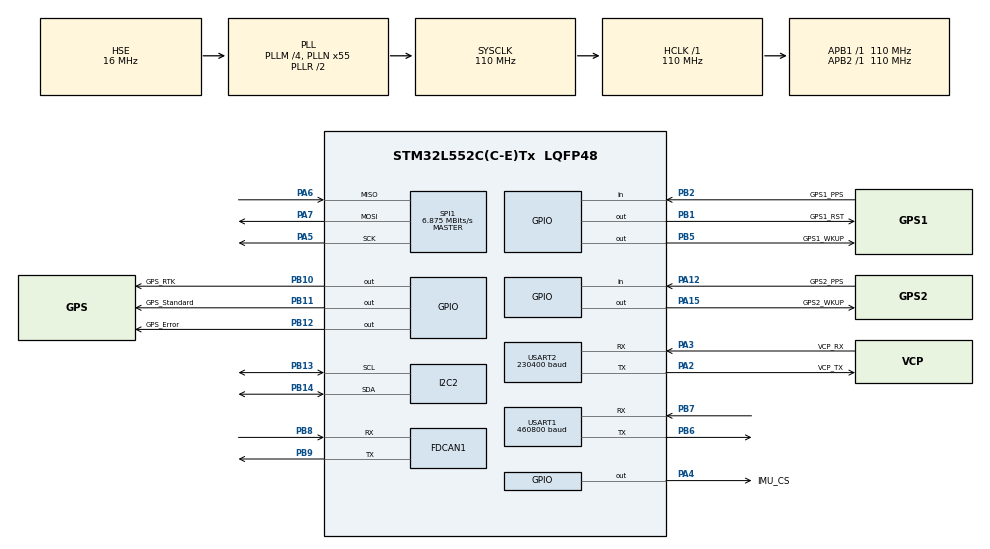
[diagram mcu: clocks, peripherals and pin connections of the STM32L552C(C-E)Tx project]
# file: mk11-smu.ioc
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Dma.Request0=USART2_TX
Dma.Request1=USART1_TX
Dma.Request2=USART1_RX
Dma.Request3=SPI1_RX
Dma.Request4=SPI1_TX
Dma.SPI1_RX.3.Channel_PRIV_NPRIV=DMA_CHANNEL_NPRIV_DISABLE
Dma.SPI1_RX.3.Direction=DMA_PERIPH_TO_MEMORY
Dma.SPI1_RX.3.EventEnable=DISABLE
Dma.SPI1_RX.3.Instance=DMA1_Channel1
Dma.SPI1_RX.3.MemDataAlignment=DMA_MDATAALIGN_BYTE
Dma.SPI1_RX.3.MemInc=DMA_MINC_ENABLE
Dma.SPI1_RX.3.Mode=DMA_NORMAL
Dma.SPI1_RX.3.PeriphDataAlignment=DMA_PDATAALIGN_BYTE
Dma.SPI1_RX.3.PeriphInc=DMA_PINC_DISABLE
Dma.SPI1_RX.3.Polarity=HAL_DMAMUX_REQ_GEN_RISING
Dma.SPI1_RX.3.Priority=DMA_PRIORITY_LOW
Dma.SPI1_RX.3.RequestNumber=1
Dma.SPI1_RX.3.SignalID=NONE
Dma.SPI1_RX.3.SyncEnable=DISABLE
Dma.SPI1_RX.3.SyncPolarity=HAL_DMAMUX_SYNC_NO_EVENT
Dma.SPI1_RX.3.SyncRequestNumber=1
Dma.SPI1_RX.3.SyncSignalID=NONE
Dma.SPI1_TX.4.Channel_PRIV_NPRIV=DMA_CHANNEL_NPRIV_DISABLE
Dma.SPI1_TX.4.Direction=DMA_MEMORY_TO_PERIPH
Dma.SPI1_TX.4.EventEnable=DISABLE
Dma.SPI1_TX.4.Instance=DMA1_Channel5
Dma.SPI1_TX.4.MemDataAlignment=DMA_MDATAALIGN_BYTE
Dma.SPI1_TX.4.MemInc=DMA_MINC_ENABLE
Dma.SPI1_TX.4.Mode=DMA_NORMAL
Dma.SPI1_TX.4.PeriphDataAlignment=DMA_PDATAALIGN_BYTE
Dma.SPI1_TX.4.PeriphInc=DMA_PINC_DISABLE
Dma.SPI1_TX.4.Polarity=HAL_DMAMUX_REQ_GEN_RISING
Dma.SPI1_TX.4.Priority=DMA_PRIORITY_LOW
Dma.SPI1_TX.4.RequestNumber=1
Dma.SPI1_TX.4.SignalID=NONE
Dma.SPI1_TX.4.SyncEnable=DISABLE
Dma.SPI1_TX.4.SyncPolarity=HAL_DMAMUX_SYNC_NO_EVENT
Dma.SPI1_TX.4.SyncRequestNumber=1
Dma.SPI1_TX.4.SyncSignalID=NONE
Dma.USART1_RX.2.Channel_PRIV_NPRIV=DMA_CHANNEL_NPRIV_DISABLE
Dma.USART1_RX.2.Direction=DMA_PERIPH_TO_MEMORY
Dma.USART1_RX.2.EventEnable=DISABLE
Dma.USART1_RX.2.Instance=DMA1_Channel4
Dma.USART1_RX.2.MemDataAlignment=DMA_MDATAALIGN_BYTE
Dma.USART1_RX.2.MemInc=DMA_MINC_ENABLE
Dma.USART1_RX.2.Mode=DMA_CIRCULAR
Dma.USART1_RX.2.PeriphDataAlignment=DMA_PDATAALIGN_BYTE
Dma.USART1_RX.2.PeriphInc=DMA_PINC_DISABLE
Dma.USART1_RX.2.Polarity=HAL_DMAMUX_REQ_GEN_RISING
Dma.USART1_RX.2.Priority=DMA_PRIORITY_LOW
Dma.USART1_RX.2.RequestNumber=1
Dma.USART1_RX.2.SignalID=NONE
Dma.USART1_RX.2.SyncEnable=DISABLE
Dma.USART1_RX.2.SyncPolarity=HAL_DMAMUX_SYNC_NO_EVENT
Dma.USART1_RX.2.SyncRequestNumber=1
Dma.USART1_RX.2.SyncSignalID=NONE
Dma.USART1_TX.1.Channel_PRIV_NPRIV=DMA_CHANNEL_NPRIV_DISABLE
Dma.USART1_TX.1.Direction=DMA_MEMORY_TO_PERIPH
Dma.USART1_TX.1.EventEnable=DISABLE
Dma.USART1_TX.1.Instance=DMA1_Channel2
Dma.USART1_TX.1.MemDataAlignment=DMA_MDATAALIGN_BYTE
Dma.USART1_TX.1.MemInc=DMA_MINC_ENABLE
Dma.USART1_TX.1.Mode=DMA_NORMAL
Dma.USART1_TX.1.PeriphDataAlignment=DMA_PDATAALIGN_BYTE
Dma.USART1_TX.1.PeriphInc=DMA_PINC_DISABLE
Dma.USART1_TX.1.Polarity=HAL_DMAMUX_REQ_GEN_RISING
Dma.USART1_TX.1.Priority=DMA_PRIORITY_LOW
Dma.USART1_TX.1.RequestNumber=1
Dma.USART1_TX.1.SignalID=NONE
Dma.USART1_TX.1.SyncEnable=DISABLE
Dma.USART1_TX.1.SyncPolarity=HAL_DMAMUX_SYNC_NO_EVENT
Dma.USART1_TX.1.SyncRequestNumber=1
Dma.USART1_TX.1.SyncSignalID=NONE
Dma.USART2_TX.0.Channel_PRIV_NPRIV=DMA_CHANNEL_NPRIV_DISABLE
Dma.USART2_TX.0.Direction=DMA_MEMORY_TO_PERIPH
Dma.USART2_TX.0.EventEnable=DISABLE
Dma.USART2_TX.0.Instance=DMA1_Channel3
Dma.USART2_TX.0.MemDataAlignment=DMA_MDATAALIGN_BYTE
Dma.USART2_TX.0.MemInc=DMA_MINC_ENABLE
Dma.USART2_TX.0.Mode=DMA_NORMAL
Dma.USART2_TX.0.PeriphDataAlignment=DMA_PDATAALIGN_BYTE
Dma.USART2_TX.0.PeriphInc=DMA_PINC_DISABLE
Dma.USART2_TX.0.Polarity=HAL_DMAMUX_REQ_GEN_RISING
Dma.USART2_TX.0.Priority=DMA_PRIORITY_LOW
Dma.USART2_TX.0.RequestNumber=1
Dma.USART2_TX.0.SignalID=NONE
Dma.USART2_TX.0.SyncEnable=DISABLE
Dma.USART2_TX.0.SyncPolarity=HAL_DMAMUX_SYNC_NO_EVENT
Dma.USART2_TX.0.SyncRequestNumber=1
Dma.USART2_TX.0.SyncSignalID=NONE
FDCAN1.AutoRetransmission=ENABLE
FDCAN1.CalculateBaudRateNominal=999999
FDCAN1.CalculateTimeBitNominal=1000
FDCAN1.CalculateTimeQuantumNominal=45.45454545454546
FDCAN1.DataPrescaler=2
FDCAN1.DataSyncJumpWidth=2
FDCAN1.DataTimeSeg1=8
FDCAN1.DataTimeSeg2=2
FDCAN1.FrameFormat=FDCAN_FRAME_FD_BRS
FDCAN1.Mode=FDCAN_MODE_NORMAL
FDCAN1.NominalPrescaler=5
FDCAN1.NominalSyncJumpWidth=1
FDCAN1.NominalTimeSeg1=17
FDCAN1.NominalTimeSeg2=4
FDCAN1.StdFiltersNbr=1
I2C2.Timing=0x60514452
Mcu.Family=STM32L5
Mcu.Name=STM32L552C(C-E)Tx
Mcu.Package=LQFP48
NVIC.DMA1_Channel1_IRQn=true\:0\:0\:false\:false\:true\:false\:true\:true
NVIC.DMA1_Channel2_IRQn=true\:0\:0\:false\:false\:true\:false\:true\:true
NVIC.DMA1_Channel3_IRQn=true\:0\:0\:false\:false\:true\:false\:true\:true
NVIC.DMA1_Channel4_IRQn=true\:0\:0\:false\:false\:true\:false\:true\:true
NVIC.DMA1_Channel5_IRQn=true\:0\:0\:false\:false\:true\:false\:true\:true
NVIC.PriorityGroup=NVIC_PRIORITYGROUP_3
NVIC.SPI1_IRQn=true\:0\:0\:false\:false\:true\:true\:true\:true
NVIC.USART1_IRQn=true\:0\:0\:false\:false\:true\:true\:true\:true
NVIC.USART2_IRQn=true\:0\:0\:false\:false\:true\:true\:true\:true
PA12.GPIO_Label=GPS2_PPS
PA12.GPIO_PuPd=GPIO_PULLUP
PA12.Signal=GPIO_Input
PA15\ (JTDI).GPIO_Label=GPS2_WKUP
PA15\ (JTDI).Signal=GPIO_Output
PA2.GPIO_Label=VCP_TX
PA2.Mode=Asynchronous
PA2.Signal=USART2_TX
PA3.GPIO_Label=VCP_RX
PA3.Mode=Asynchronous
PA3.Signal=USART2_RX
PA4.GPIO_Label=IMU_CS
PA4.Signal=GPIO_Output
PA5.Mode=Full_Duplex_Master
PA5.Signal=SPI1_SCK
PA6.Mode=Full_Duplex_Master
PA6.Signal=SPI1_MISO
PA7.Mode=Full_Duplex_Master
PA7.Signal=SPI1_MOSI
PB1.GPIO_Label=GPS1_RST
PB1.GPIO_ModeDefaultOutputPP=GPIO_MODE_OUTPUT_OD
PB1.GPIO_PuPd=GPIO_NOPULL
PB1.PinState=GPIO_PIN_SET
PB1.Signal=GPIO_Output
PB10.GPIO_Label=GPS_RTK
PB10.Signal=GPIO_Output
PB11.GPIO_Label=GPS_Standard
PB11.Signal=GPIO_Output
PB12.GPIO_Label=GPS_Error
PB12.Signal=GPIO_Output
PB13.Mode=I2C
PB13.Signal=I2C2_SCL
PB14.Mode=I2C
PB14.Signal=I2C2_SDA
PB2.GPIO_Label=GPS1_PPS
PB2.Signal=GPIO_Input
PB5.GPIO_Label=GPS1_WKUP
PB5.Signal=GPIO_Output
PB6.Mode=Asynchronous
PB6.Signal=USART1_TX
PB7.Mode=Asynchronous
PB7.Signal=USART1_RX
PB8.Mode=FDCAN_Activate
PB8.Signal=FDCAN1_RX
PB9.Mode=FDCAN_Activate
PB9.Signal=FDCAN1_TX
PH0-OSC_IN\ (PH0).Mode=HSE-External-Oscillator
PH0-OSC_IN\ (PH0).Signal=RCC_OSC_IN
PH1-OSC_OUT\ (PH1).Mode=HSE-External-Oscillator
PH1-OSC_OUT\ (PH1).Signal=RCC_OSC_OUT
ProjectManager.HeapSize=0x200
ProjectManager.StackSize=0x400
ProjectManager.TargetToolchain=STM32CubeIDE
RCC.AHBFreq_Value=110000000
RCC.APB1Freq_Value=110000000
RCC.APB1TimFreq_Value=110000000
RCC.APB2Freq_Value=110000000
RCC.APB2TimFreq_Value=110000000
RCC.CortexFreq_Value=110000000
RCC.HCLKFreq_Value=110000000
RCC.HSE_VALUE=16000000
RCC.HSI48_VALUE=48000000
RCC.HSI_VALUE=16000000
RCC.LSE_VALUE=32768
RCC.MSI_VALUE=4000000
RCC.PLLM=4
RCC.PLLN=55
RCC.PLLSourceVirtual=RCC_PLLSOURCE_HSE
RCC.SYSCLKFreq_VALUE=110000000
RCC.SYSCLKSource=RCC_SYSCLKSOURCE_PLLCLK
RCC.VCOOutputFreq_Value=220000000
SPI1.BaudRatePrescaler=SPI_BAUDRATEPRESCALER_16
SPI1.CLKPhase=SPI_PHASE_2EDGE
SPI1.CLKPolarity=SPI_POLARITY_HIGH
SPI1.CalculateBaudRate=6.875 MBits/s
SPI1.DataSize=SPI_DATASIZE_8BIT
SPI1.Direction=SPI_DIRECTION_2LINES
SPI1.Mode=SPI_MODE_MASTER
SPI1.VirtualType=VM_MASTER
USART1.BaudRate=460800
USART1.VirtualMode-Asynchronous=VM_ASYNC
USART2.BaudRate=230400
USART2.VirtualMode-Asynchronous=VM_ASYNC
VP_ICACHE_VS_ICACHE.Mode=DefaultMode
VP_PWR_VS_DBSignals.Mode=DisableDeadBatterySignals
VP_PWR_VS_SECSignals.Mode=Security/Privilege
board=custom

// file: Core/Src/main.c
/* USER CODE BEGIN Header */
/**
 ******************************************************************************
 * @file           : main.c
 * @brief          : Main program body
 ******************************************************************************
 * @attention
 *
 * Copyright (c) 2026 STMicroelectronics.
 * All rights reserved.
 *
 * This software is licensed under terms that can be found in the LICENSE file
 * in the root directory of this software component.
 * If no LICENSE file comes with this software, it is provided AS-IS.
 *
 ******************************************************************************
 */
/* USER CODE END Header */
#include "main.h"

/* USER CODE BEGIN Includes */
#include "imu.h"
#include "gps.h"
#include "pps.h"
#include "state.h"
#include "can.h"
/* USER CODE END Includes */

FDCAN_HandleTypeDef hfdcan1;

I2C_HandleTypeDef hi2c2;

SPI_HandleTypeDef hspi1;
DMA_HandleTypeDef hdma_spi1_rx;
DMA_HandleTypeDef hdma_spi1_tx;

UART_HandleTypeDef huart1;
UART_HandleTypeDef huart2;
DMA_HandleTypeDef hdma_usart1_tx;
DMA_HandleTypeDef hdma_usart1_rx;
DMA_HandleTypeDef hdma_usart2_tx;

/* USER CODE BEGIN PV */
/* USEFUL LIVE EXPRESSIONS TO PROBE:
 *
 * fdcan_tx_count
 *
 * imu_comm_ok
 * imu_init_ok
 * imu_ax_corr_g
 * imu_ay_corr_g
 * imu_az_corr_g
 * imu1_pitch_deg
 * imu1_roll_deg
 *
 * gps_data.fix_valid
 * gps_data.satellites
 * gps1_latitude_deg
 * gps1_longitude_deg
 * gps1_altitude_m
 * gps1_velocity_mps
 * gps1_heading_deg
 *
 * gps1_pps_count
 * gps1_last_pps_ms
 */

/* TO SIMULATE 0x040 GPS_FD WITHOUT ANTENNAS (modify these live):
 *
 * gps_data.last_update_ms    = HAL_GetTick()   (set to current tick for fresh age)
 * gps_data.fix_valid         = 1
 * gps_data.fix_quality       = 4               (4 = RTK fixed)
 * gps_data.latitude_deg      = 34.0689
 * gps_data.longitude_deg     = -118.4452
 * gps1_velocity_mps          = 10.0
 * gps_data.baseline_length_m = 1.5             (antenna separation in metres)
 * gps_data.heading_deg       = 90.0
 * gps_data.heading_accuracy_deg = 0.5
 * gps_data.pitch_deg         = 2.0
 * gps_data.pitch_acc_deg     = 0.3
 * gps_data.tar_satellites    = 10
 * gps_diag.sentence_count    = 1               (clears NO_SENTENCES error flag)
 * gps_diag.uart_last_error_code = 0            (clears UART error flag)
 */

uint8_t SMU_BOARD_ID = 0U;
volatile uint8_t imu_whoami = 0U;
volatile uint8_t imu_comm_ok = 0U;
volatile uint8_t imu_init_ok = 0U;
volatile uint8_t imu_last_status = 0U;
volatile uint32_t imu_poll_count = 0U;

volatile int16_t imu_gx_raw = 0;
volatile int16_t imu_gy_raw = 0;
volatile int16_t imu_gz_raw = 0;
volatile int16_t imu_ax_raw = 0;
volatile int16_t imu_ay_raw = 0;
volatile int16_t imu_az_raw = 0;

volatile uint8_t gps_init_ok = 0U;
volatile uint8_t pps_init_ok = 0U;
volatile uint8_t state_init_ok = 0U;
volatile uint8_t can_init_ok = 0U;
volatile uint32_t gps_uart_error_count = 0U;

uint32_t last_imu_poll_time = 0U;
/* USER CODE END PV */

void SystemClock_Config(void);
static void MX_GPIO_Init(void);
static void MX_DMA_Init(void);
static void MX_SPI1_Init(void);
static void MX_ICACHE_Init(void);
static void MX_FDCAN1_Init(void);
static void MX_USART2_UART_Init(void);
static void MX_USART1_UART_Init(void);
static void MX_I2C2_Init(void);

/* USER CODE BEGIN 0 */
void HAL_UART_RxHalfCpltCallback(UART_HandleTypeDef *huart) {
  GPS_UART_RxHalfCpltCallback(huart);
}

void HAL_UART_RxCpltCallback(UART_HandleTypeDef *huart) {
	GPS_UART_RxCpltCallback(huart);
}

void HAL_UART_TxCpltCallback(UART_HandleTypeDef *huart) {
  GPS_UART_TxCpltCallback(huart);
}

void HAL_UART_ErrorCallback(UART_HandleTypeDef *huart) {
	if ((huart != NULL) && (huart->Instance == huart1.Instance)) {
		gps_uart_error_count++;
		GPS_ErrorRestart();
	}
}
/* USER CODE END 0 */

int main(void)
{

  /* MCU Configuration--------------------------------------------------------*/

  /* Reset of all peripherals, Initializes the Flash interface and the Systick. */
  HAL_Init();

  /* Configure the system clock */
  SystemClock_Config();

  /* Initialize all configured peripherals */
  MX_GPIO_Init();
  MX_DMA_Init();
  MX_SPI1_Init();
  MX_ICACHE_Init();
  MX_FDCAN1_Init();
  MX_USART2_UART_Init();
  MX_USART1_UART_Init();
  MX_I2C2_Init();
  /* USER CODE BEGIN 2 */
	PPS_ForcePinConfig();

	if (IMU_Init(&hspi1) == HAL_OK) {
		imu_init_ok = 1U;
	} else {
		imu_init_ok = 0U;
	}

	if (GPS_Init(&huart1) == HAL_OK) {
		gps_init_ok = 1U;
	} else {
		gps_init_ok = 0U;
	}

	if (PPS_Init() == HAL_OK) {
		pps_init_ok = 1U;
	} else {
		pps_init_ok = 0U;
	}

	if (State_Init() == HAL_OK) {
		state_init_ok = 1U;
	} else {
		state_init_ok = 0U;
	}

	if (CAN_Init(&hfdcan1) == HAL_OK) {
		can_init_ok = 1U;
	} else {
		can_init_ok = 0U;
	}
  /* USER CODE END 2 */

  /* Infinite loop */
  /* USER CODE BEGIN WHILE */
	while (1) {
		uint32_t now = HAL_GetTick();

		PPS_Process(now);
		GPS_Process();

		if ((now - last_imu_poll_time) >= 10U) {
			last_imu_poll_time = now;

			/* WHO_AM_I uses blocking SPI; only run when DMA bus is idle */
			if (!IMU_IsBusy()) {
				imu_last_status = (uint8_t) IMU_CheckWhoAmI((uint8_t*) &imu_whoami);
				imu_comm_ok = ((imu_last_status == HAL_OK)
						&& (imu_whoami == IMU_WHO_AM_I_VALUE)) ? 1U : 0U;
			}

			if (imu_comm_ok && imu_init_ok) {
				/* consume any completed DMA read */
				if (IMU_PollReadAxes((int16_t*) &imu_gx_raw, (int16_t*) &imu_gy_raw,
						(int16_t*) &imu_gz_raw, (int16_t*) &imu_ax_raw,
						(int16_t*) &imu_ay_raw, (int16_t*) &imu_az_raw)) {
					State_UpdateFromImuRaw(imu_gx_raw, imu_gy_raw, imu_gz_raw,
							imu_ax_raw, imu_ay_raw, imu_az_raw, now);
				}

				/* kick off the next read for the following tick */
				if (IMU_StartReadAxes() != HAL_OK) {
					imu_last_status = 0xFFU;
				}
			}

			imu_poll_count++;
		}

		CAN_SetImuStatus(imu_comm_ok, imu_init_ok);
		CAN_Process(now);

    /* USER CODE END WHILE */

	}
}

void SystemClock_Config(void)
{
  RCC_OscInitTypeDef RCC_OscInitStruct = {0};
  RCC_ClkInitTypeDef RCC_ClkInitStruct = {0};

  /** Configure the main internal regulator output voltage
  */
  if (HAL_PWREx_ControlVoltageScaling(PWR_REGULATOR_VOLTAGE_SCALE0) != HAL_OK)
  {
    Error_Handler();
  }

  /** Initializes the RCC Oscillators according to the specified parameters
  * in the RCC_OscInitTypeDef structure.
  */
  RCC_OscInitStruct.OscillatorType = RCC_OSCILLATORTYPE_HSE;
  RCC_OscInitStruct.HSEState = RCC_HSE_ON;
  RCC_OscInitStruct.PLL.PLLState = RCC_PLL_ON;
  RCC_OscInitStruct.PLL.PLLSource = RCC_PLLSOURCE_HSE;
  RCC_OscInitStruct.PLL.PLLM = 4;
  RCC_OscInitStruct.PLL.PLLN = 55;
  RCC_OscInitStruct.PLL.PLLP = RCC_PLLP_DIV7;
  RCC_OscInitStruct.PLL.PLLQ = RCC_PLLQ_DIV2;
  RCC_OscInitStruct.PLL.PLLR = RCC_PLLR_DIV2;
  if (HAL_RCC_OscConfig(&RCC_OscInitStruct) != HAL_OK)
  {
    Error_Handler();
  }

  /** Initializes the CPU, AHB and APB buses clocks
  */
  RCC_ClkInitStruct.ClockType = RCC_CLOCKTYPE_HCLK|RCC_CLOCKTYPE_SYSCLK
                              |RCC_CLOCKTYPE_PCLK1|RCC_CLOCKTYPE_PCLK2;
  RCC_ClkInitStruct.SYSCLKSource = RCC_SYSCLKSOURCE_PLLCLK;
  RCC_ClkInitStruct.AHBCLKDivider = RCC_SYSCLK_DIV1;
  RCC_ClkInitStruct.APB1CLKDivider = RCC_HCLK_DIV1;
  RCC_ClkInitStruct.APB2CLKDivider = RCC_HCLK_DIV1;

  if (HAL_RCC_ClockConfig(&RCC_ClkInitStruct, FLASH_LATENCY_5) != HAL_OK)
  {
    Error_Handler();
  }
}

static void MX_FDCAN1_Init(void)
{

  hfdcan1.Instance = FDCAN1;
  hfdcan1.Init.ClockDivider = FDCAN_CLOCK_DIV1;
  hfdcan1.Init.FrameFormat = FDCAN_FRAME_FD_BRS;
  hfdcan1.Init.Mode = FDCAN_MODE_NORMAL;
  hfdcan1.Init.AutoRetransmission = ENABLE;
  hfdcan1.Init.TransmitPause = DISABLE;
  hfdcan1.Init.ProtocolException = DISABLE;
  hfdcan1.Init.NominalPrescaler = 5;
  hfdcan1.Init.NominalSyncJumpWidth = 1;
  hfdcan1.Init.NominalTimeSeg1 = 17;
  hfdcan1.Init.NominalTimeSeg2 = 4;
  hfdcan1.Init.DataPrescaler = 2;
  hfdcan1.Init.DataSyncJumpWidth = 2;
  hfdcan1.Init.DataTimeSeg1 = 8;
  hfdcan1.Init.DataTimeSeg2 = 2;
  hfdcan1.Init.StdFiltersNbr = 1;
  hfdcan1.Init.ExtFiltersNbr = 0;
  hfdcan1.Init.TxFifoQueueMode = FDCAN_TX_FIFO_OPERATION;
  if (HAL_FDCAN_Init(&hfdcan1) != HAL_OK)
  {
    Error_Handler();
  }

}

static void MX_I2C2_Init(void)
{

  hi2c2.Instance = I2C2;
  hi2c2.Init.Timing = 0x60514452;
  hi2c2.Init.OwnAddress1 = 0;
  hi2c2.Init.AddressingMode = I2C_ADDRESSINGMODE_7BIT;
  hi2c2.Init.DualAddressMode = I2C_DUALADDRESS_DISABLE;
  hi2c2.Init.OwnAddress2 = 0;
  hi2c2.Init.OwnAddress2Masks = I2C_OA2_NOMASK;
  hi2c2.Init.GeneralCallMode = I2C_GENERALCALL_DISABLE;
  hi2c2.Init.NoStretchMode = I2C_NOSTRETCH_DISABLE;
  if (HAL_I2C_Init(&hi2c2) != HAL_OK)
  {
    Error_Handler();
  }

  /** Configure Analogue filter
  */
  if (HAL_I2CEx_ConfigAnalogFilter(&hi2c2, I2C_ANALOGFILTER_ENABLE) != HAL_OK)
  {
    Error_Handler();
  }

  /** Configure Digital filter
  */
  if (HAL_I2CEx_ConfigDigitalFilter(&hi2c2, 0) != HAL_OK)
  {
    Error_Handler();
  }

}

static void MX_ICACHE_Init(void)
{

  /** Enable instruction cache (default 2-ways set associative cache)
  */
  if (HAL_ICACHE_Enable() != HAL_OK)
  {
    Error_Handler();
  }

}

static void MX_SPI1_Init(void)
{

  /* SPI1 parameter configuration*/
  hspi1.Instance = SPI1;
  hspi1.Init.Mode = SPI_MODE_MASTER;
  hspi1.Init.Direction = SPI_DIRECTION_2LINES;
  hspi1.Init.DataSize = SPI_DATASIZE_8BIT;
  hspi1.Init.CLKPolarity = SPI_POLARITY_HIGH;
  hspi1.Init.CLKPhase = SPI_PHASE_2EDGE;
  hspi1.Init.NSS = SPI_NSS_SOFT;
  hspi1.Init.BaudRatePrescaler = SPI_BAUDRATEPRESCALER_16;
  hspi1.Init.FirstBit = SPI_FIRSTBIT_MSB;
  hspi1.Init.TIMode = SPI_TIMODE_DISABLE;
  hspi1.Init.CRCCalculation = SPI_CRCCALCULATION_DISABLE;
  hspi1.Init.CRCPolynomial = 7;
  hspi1.Init.CRCLength = SPI_CRC_LENGTH_DATASIZE;
  hspi1.Init.NSSPMode = SPI_NSS_PULSE_DISABLE;
  if (HAL_SPI_Init(&hspi1) != HAL_OK)
  {
    Error_Handler();
  }

}

static void MX_USART1_UART_Init(void)
{

  huart1.Instance = USART1;
  huart1.Init.BaudRate = 460800;
  huart1.Init.WordLength = UART_WORDLENGTH_8B;
  huart1.Init.StopBits = UART_STOPBITS_1;
  huart1.Init.Parity = UART_PARITY_NONE;
  huart1.Init.Mode = UART_MODE_TX_RX;
  huart1.Init.HwFlowCtl = UART_HWCONTROL_NONE;
  huart1.Init.OverSampling = UART_OVERSAMPLING_16;
  huart1.Init.OneBitSampling = UART_ONE_BIT_SAMPLE_DISABLE;
  huart1.Init.ClockPrescaler = UART_PRESCALER_DIV1;
  huart1.AdvancedInit.AdvFeatureInit = UART_ADVFEATURE_NO_INIT;
  if (HAL_UART_Init(&huart1) != HAL_OK)
  {
    Error_Handler();
  }
  if (HAL_UARTEx_SetTxFifoThreshold(&huart1, UART_TXFIFO_THRESHOLD_1_8) != HAL_OK)
  {
    Error_Handler();
  }
  if (HAL_UARTEx_SetRxFifoThreshold(&huart1, UART_RXFIFO_THRESHOLD_1_8) != HAL_OK)
  {
    Error_Handler();
  }
  if (HAL_UARTEx_DisableFifoMode(&huart1) != HAL_OK)
  {
    Error_Handler();
  }

}

static void MX_USART2_UART_Init(void)
{

  huart2.Instance = USART2;
  huart2.Init.BaudRate = 230400;
  huart2.Init.WordLength = UART_WORDLENGTH_8B;
  huart2.Init.StopBits = UART_STOPBITS_1;
  huart2.Init.Parity = UART_PARITY_NONE;
  huart2.Init.Mode = UART_MODE_TX_RX;
  huart2.Init.HwFlowCtl = UART_HWCONTROL_NONE;
  huart2.Init.OverSampling = UART_OVERSAMPLING_16;
  huart2.Init.OneBitSampling = UART_ONE_BIT_SAMPLE_DISABLE;
  huart2.Init.ClockPrescaler = UART_PRESCALER_DIV1;
  huart2.AdvancedInit.AdvFeatureInit = UART_ADVFEATURE_NO_INIT;
  if (HAL_UART_Init(&huart2) != HAL_OK)
  {
    Error_Handler();
  }
  if (HAL_UARTEx_SetTxFifoThreshold(&huart2, UART_TXFIFO_THRESHOLD_1_8) != HAL_OK)
  {
    Error_Handler();
  }
  if (HAL_UARTEx_SetRxFifoThreshold(&huart2, UART_RXFIFO_THRESHOLD_1_8) != HAL_OK)
  {
    Error_Handler();
  }
  if (HAL_UARTEx_DisableFifoMode(&huart2) != HAL_OK)
  {
    Error_Handler();
  }

}

static void MX_DMA_Init(void)
{

  /* DMA controller clock enable */
  __HAL_RCC_DMAMUX1_CLK_ENABLE();
  __HAL_RCC_DMA1_CLK_ENABLE();

  /* DMA interrupt init */
  /* DMA1_Channel1_IRQn interrupt configuration */
  HAL_NVIC_SetPriority(DMA1_Channel1_IRQn, 0, 0);
  HAL_NVIC_EnableIRQ(DMA1_Channel1_IRQn);
  /* DMA1_Channel2_IRQn interrupt configuration */
  HAL_NVIC_SetPriority(DMA1_Channel2_IRQn, 0, 0);
  HAL_NVIC_EnableIRQ(DMA1_Channel2_IRQn);
  /* DMA1_Channel3_IRQn interrupt configuration */
  HAL_NVIC_SetPriority(DMA1_Channel3_IRQn, 0, 0);
  HAL_NVIC_EnableIRQ(DMA1_Channel3_IRQn);
  /* DMA1_Channel4_IRQn interrupt configuration */
  HAL_NVIC_SetPriority(DMA1_Channel4_IRQn, 0, 0);
  HAL_NVIC_EnableIRQ(DMA1_Channel4_IRQn);
  /* DMA1_Channel5_IRQn interrupt configuration */
  HAL_NVIC_SetPriority(DMA1_Channel5_IRQn, 0, 0);
  HAL_NVIC_EnableIRQ(DMA1_Channel5_IRQn);

}

static void MX_GPIO_Init(void)
{
  GPIO_InitTypeDef GPIO_InitStruct = {0};

  /* GPIO Ports Clock Enable */
  __HAL_RCC_GPIOH_CLK_ENABLE();
  __HAL_RCC_GPIOA_CLK_ENABLE();
  __HAL_RCC_GPIOB_CLK_ENABLE();

  /*Configure GPIO pin Output Level */
  HAL_GPIO_WritePin(GPIOA, IMU_CS_Pin|GPS2_WKUP_Pin, GPIO_PIN_RESET);

  /*Configure GPIO pin Output Level */
  HAL_GPIO_WritePin(GPS1_RST_GPIO_Port, GPS1_RST_Pin, GPIO_PIN_SET);

  /*Configure GPIO pin Output Level */
  HAL_GPIO_WritePin(GPIOB, GPS_RTK_Pin|GPS_Standard_Pin|GPS_Error_Pin|GPS1_WKUP_Pin, GPIO_PIN_RESET);

  /*Configure GPIO pins : IMU_CS_Pin GPS2_WKUP_Pin */
  GPIO_InitStruct.Pin = IMU_CS_Pin|GPS2_WKUP_Pin;
  GPIO_InitStruct.Mode = GPIO_MODE_OUTPUT_PP;
  GPIO_InitStruct.Pull = GPIO_NOPULL;
  GPIO_InitStruct.Speed = GPIO_SPEED_FREQ_LOW;
  HAL_GPIO_Init(GPIOA, &GPIO_InitStruct);

  /*Configure GPIO pin : GPS1_RST_Pin */
  GPIO_InitStruct.Pin = GPS1_RST_Pin;
  GPIO_InitStruct.Mode = GPIO_MODE_OUTPUT_OD;
  GPIO_InitStruct.Pull = GPIO_NOPULL;
  GPIO_InitStruct.Speed = GPIO_SPEED_FREQ_LOW;
  HAL_GPIO_Init(GPS1_RST_GPIO_Port, &GPIO_InitStruct);

  /*Configure GPIO pin : GPS1_PPS_Pin */
  GPIO_InitStruct.Pin = GPS1_PPS_Pin;
  GPIO_InitStruct.Mode = GPIO_MODE_INPUT;
  GPIO_InitStruct.Pull = GPIO_NOPULL;
  HAL_GPIO_Init(GPS1_PPS_GPIO_Port, &GPIO_InitStruct);

  /*Configure GPIO pins : GPS_RTK_Pin GPS_Standard_Pin GPS_Error_Pin GPS1_WKUP_Pin */
  GPIO_InitStruct.Pin = GPS_RTK_Pin|GPS_Standard_Pin|GPS_Error_Pin|GPS1_WKUP_Pin;
  GPIO_InitStruct.Mode = GPIO_MODE_OUTPUT_PP;
  GPIO_InitStruct.Pull = GPIO_NOPULL;
  GPIO_InitStruct.Speed = GPIO_SPEED_FREQ_LOW;
  HAL_GPIO_Init(GPIOB, &GPIO_InitStruct);

  /*Configure GPIO pin : GPS2_PPS_Pin */
  GPIO_InitStruct.Pin = GPS2_PPS_Pin;
  GPIO_InitStruct.Mode = GPIO_MODE_INPUT;
  GPIO_InitStruct.Pull = GPIO_PULLUP;
  HAL_GPIO_Init(GPS2_PPS_GPIO_Port, &GPIO_InitStruct);

}

void Error_Handler(void)
{
	__disable_irq();
	while (1) {
	}
}
